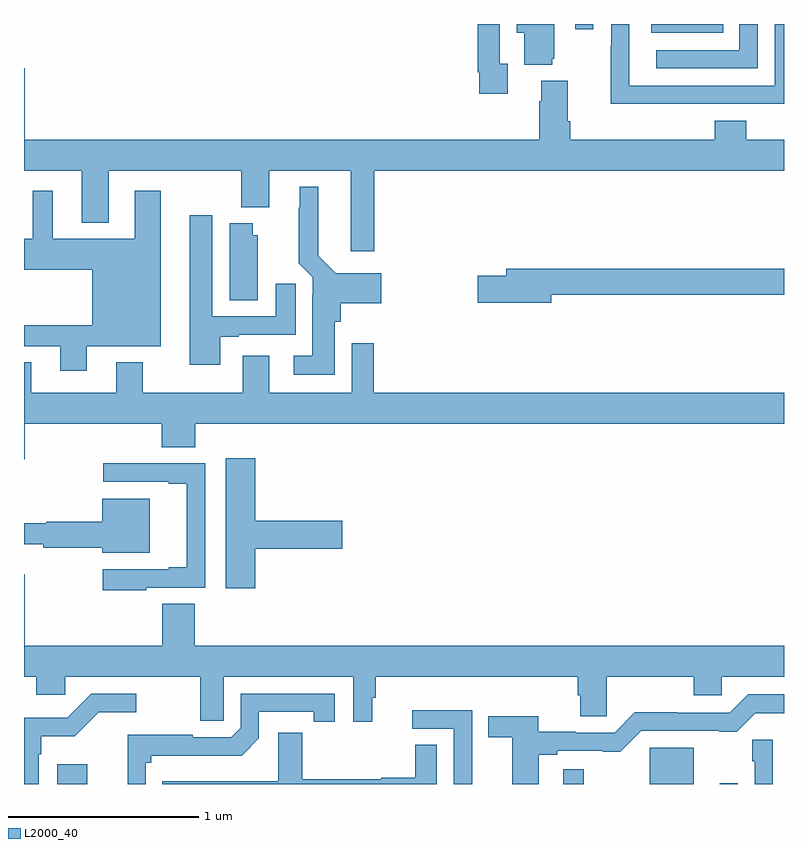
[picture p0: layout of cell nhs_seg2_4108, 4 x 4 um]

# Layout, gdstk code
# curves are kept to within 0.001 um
import gdstk
lib = gdstk.Library(unit=1e-6, precision=1e-09)
def R(c, l, rs):  # rectangles x0, y0, x1, y1
    for r in rs: c.add(gdstk.rectangle(r[:2], r[2:], *l))
def P(c, l, *ps):  # polygons
    for p in ps: c.add(gdstk.Polygon(p, *l))
L2000_40 = (2000, 40)

nhs_seg2_4108 = lib.new_cell('nhs_seg2_4108')
R(nhs_seg2_4108, L2000_40, [(333.176,585.8,333.334,585.904), (335.838,585.8,335.947,585.877), (336.293,585.8,336.526,585.991), (336.662,585.8,336.756,585.805), (336.302,589.754,336.68,589.8), (335.901,589.773,335.997,589.8)])
P(nhs_seg2_4108, L2000_40, [(335.545,589.59),(335.505,589.59),(335.505,589.8),(335.389,589.8),(335.389,589.546),(335.397,589.546),(335.397,589.434),(335.545,589.434)],
  [(335.78,589.617),(335.791,589.617),(335.791,589.8),(335.594,589.8),(335.594,589.754),(335.633,589.754),(335.633,589.586),(335.78,589.586)],
  [(336.551,589.38),(337,589.38),(337,589.8),(336.951,589.8),(336.951,589.476),(336.186,589.476),(336.186,589.8),(336.09,589.8),(336.09,589.685),(336.088,589.685),(336.088,589.379),(336.551,589.379)],
  [(336.861,589.8),(336.765,589.8),(336.765,589.662),(336.327,589.662),(336.327,589.566),(336.861,589.566)],
  [(334.844,589.028),(337,589.028),(337,589.192),(336.8,589.192),(336.8,589.291),(336.635,589.291),(336.635,589.192),(335.876,589.192),(335.876,589.288),(335.863,589.288),(335.863,589.501),(335.723,589.501),(335.723,589.394),(335.711,589.394),(335.711,589.192),(333.004,589.192),(333.004,589.567),(333,589.567),(333,589.028),(333.305,589.028),(333.305,588.755),(333.445,588.755),(333.445,589.028),(334.144,589.028),(334.144,588.836),(334.291,588.836),(334.291,589.028),(334.721,589.028),(334.721,588.603),(334.844,588.603)],
  [(334.636,588.234),(334.667,588.234),(334.667,588.329),(334.879,588.329),(334.879,588.487),(334.641,588.487),(334.549,588.58),(334.549,588.943),(334.451,588.943),(334.451,588.833),(334.447,588.833),(334.447,588.542),(334.521,588.468),(334.521,588.374),(334.517,588.374),(334.517,588.055),(334.419,588.055),(334.419,587.954),(334.636,587.954)],
  [(333.331,588.104),(333.721,588.104),(333.721,588.922),(333.584,588.922),(333.584,588.67),(333.151,588.67),(333.151,588.922),(333.047,588.922),(333.047,588.67),(333,588.67),(333,588.506),(333.359,588.506),(333.359,588.214),(333,588.214),(333,588.105),(333.191,588.105),(333.191,587.976),(333.331,587.976)],
  [(334.033,588.153),(334.129,588.153),(334.129,588.165),(334.429,588.165),(334.429,588.433),(334.325,588.433),(334.325,588.261),(333.991,588.261),(333.991,588.793),(333.872,588.793),(333.872,588.006),(334.033,588.006)],
  [(334.231,588.687),(334.204,588.687),(334.204,588.751),(334.082,588.751),(334.082,588.346),(334.231,588.346)],
  [(335.776,588.376),(337,588.376),(337,588.512),(335.537,588.512),(335.537,588.476),(335.388,588.476),(335.388,588.334),(335.776,588.334)],
  [(337,587.86),(334.841,587.86),(334.841,588.121),(334.725,588.121),(334.725,587.86),(334.291,587.86),(334.291,588.055),(334.151,588.055),(334.151,587.86),(333.625,587.86),(333.625,588.019),(333.485,588.019),(333.485,587.86),(333.037,587.86),(333.037,588.02),(333,588.02),(333,587.508),(333.004,587.508),(333.004,587.696),(333.725,587.696),(333.725,587.572),(333.902,587.572),(333.902,587.696),(337,587.696)],
  [(334.217,587.039),(334.675,587.039),(334.675,587.186),(334.217,587.186),(334.217,587.515),(334.061,587.515),(334.061,586.83),(334.217,586.83)],
  [(333.644,586.833),(333.954,586.833),(333.954,587.487),(333.641,587.487),(333.641,587.489),(333.417,587.489),(333.417,587.391),(333.761,587.391),(333.761,587.379),(333.857,587.379),(333.857,586.942),(333.761,586.942),(333.761,586.929),(333.414,586.929),(333.414,586.821),(333.644,586.821)],
  [(333.661,587.302),(333.413,587.302),(333.413,587.18),(333.117,587.18),(333.117,587.173),(333,587.173),(333,587.063),(333.1,587.063),(333.1,587.044),(333.413,587.044),(333.413,587.018),(333.661,587.018)],
  [(334.834,586.254),(334.852,586.254),(334.852,586.364),(335.915,586.364),(335.915,586.266),(335.927,586.266),(335.927,586.156),(336.066,586.156),(336.066,586.364),(336.526,586.364),(336.526,586.266),(336.672,586.266),(336.672,586.364),(337,586.364),(337,586.528),(333.899,586.528),(333.899,586.748),(333.728,586.748),(333.728,586.528),(333.004,586.528),(333.004,586.903),(333,586.903),(333,586.364),(333.065,586.364),(333.065,586.271),(333.216,586.271),(333.216,586.364),(333.928,586.364),(333.928,586.132),(334.05,586.132),(334.05,586.364),(334.733,586.364),(334.733,586.128),(334.834,586.128)],
  [(333.078,585.956),(333.091,585.956),(333.091,586.052),(333.268,586.052),(333.394,586.178),(333.592,586.178),(333.592,586.275),(333.353,586.275),(333.227,586.149),(333,586.149),(333,585.8),(333.078,585.8)],
  [(333.642,585.912),(333.67,585.912),(333.67,585.95),(334.145,585.95),(334.236,586.041),(334.236,586.179),(334.526,586.179),(334.526,586.128),(334.636,586.128),(334.636,586.275),(334.14,586.275),(334.14,586.095),(334.092,586.047),(333.889,586.047),(333.889,586.06),(333.545,586.06),(333.545,585.8),(333.642,585.8)],
  [(335.71,585.955),(335.806,585.955),(335.806,585.975),(336.047,585.975),(336.047,585.97),(336.139,585.97),(336.249,586.08),(336.659,586.08),(336.659,586.075),(336.751,586.075),(336.849,586.173),(337,586.172),(337,586.273),(336.811,586.273),(336.714,586.176),(336.437,586.176),(336.437,586.178),(336.215,586.178),(336.108,586.071),(335.904,586.071),(335.904,586.076),(335.707,586.076),(335.707,586.156),(335.443,586.156),(335.443,586.045),(335.57,586.045),(335.57,585.8),(335.71,585.8)],
  [(335.36,585.959),(335.358,585.959),(335.358,586.189),(335.043,586.189),(335.043,586.092),(335.262,586.092),(335.262,585.8),(335.36,585.8)],
  [(335.172,586.007),(335.06,586.007),(335.06,585.833),(334.879,585.833),(334.879,585.826),(334.465,585.826),(334.465,586.069),(334.337,586.069),(334.337,585.814),(333.727,585.814),(333.727,585.8),(335.172,585.8)],
  [(336.942,586.033),(336.834,586.033),(336.834,585.92),(336.846,585.92),(336.846,585.8),(336.942,585.8)])

lib.write_gds('nhs_seg2_4108.gds')
